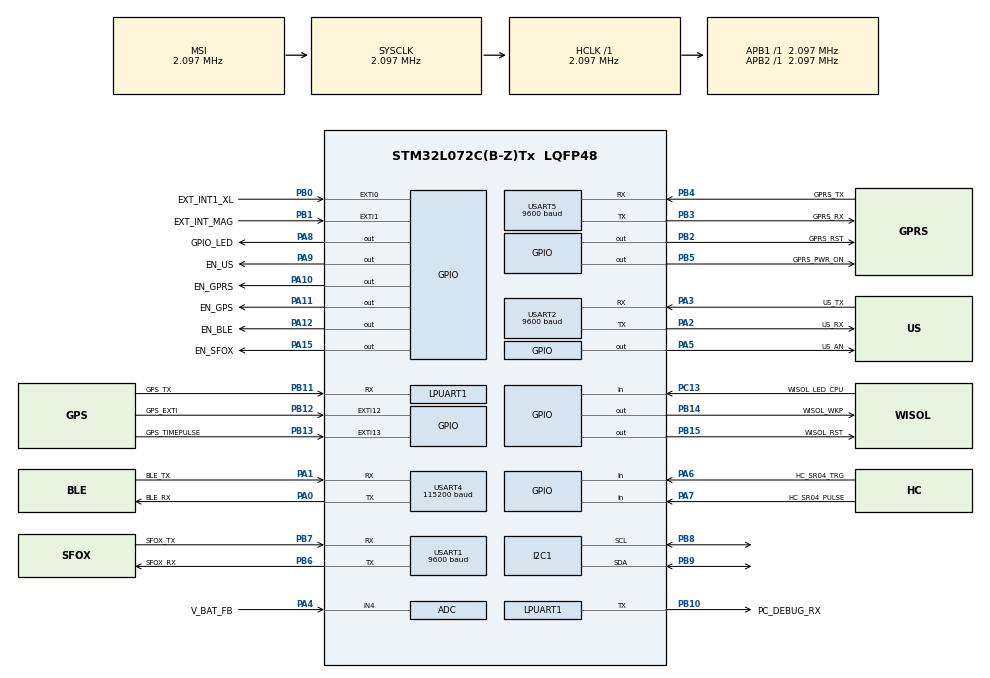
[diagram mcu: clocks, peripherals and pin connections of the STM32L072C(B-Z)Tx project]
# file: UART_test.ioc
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Dma.ADC.0.Direction=DMA_PERIPH_TO_MEMORY
Dma.ADC.0.Instance=DMA1_Channel1
Dma.ADC.0.MemDataAlignment=DMA_MDATAALIGN_WORD
Dma.ADC.0.MemInc=DMA_MINC_ENABLE
Dma.ADC.0.Mode=DMA_CIRCULAR
Dma.ADC.0.PeriphDataAlignment=DMA_PDATAALIGN_HALFWORD
Dma.ADC.0.PeriphInc=DMA_PINC_DISABLE
Dma.ADC.0.Priority=DMA_PRIORITY_MEDIUM
Dma.Request0=ADC
Dma.Request1=USART5_RX
Dma.Request2=USART5_TX
Dma.USART5_RX.1.Direction=DMA_PERIPH_TO_MEMORY
Dma.USART5_RX.1.Instance=DMA1_Channel2
Dma.USART5_RX.1.MemDataAlignment=DMA_MDATAALIGN_BYTE
Dma.USART5_RX.1.MemInc=DMA_MINC_ENABLE
Dma.USART5_RX.1.Mode=DMA_NORMAL
Dma.USART5_RX.1.PeriphDataAlignment=DMA_PDATAALIGN_BYTE
Dma.USART5_RX.1.PeriphInc=DMA_PINC_DISABLE
Dma.USART5_RX.1.Priority=DMA_PRIORITY_VERY_HIGH
Dma.USART5_TX.2.Direction=DMA_MEMORY_TO_PERIPH
Dma.USART5_TX.2.Instance=DMA1_Channel3
Dma.USART5_TX.2.MemDataAlignment=DMA_MDATAALIGN_BYTE
Dma.USART5_TX.2.MemInc=DMA_MINC_ENABLE
Dma.USART5_TX.2.Mode=DMA_NORMAL
Dma.USART5_TX.2.PeriphDataAlignment=DMA_PDATAALIGN_BYTE
Dma.USART5_TX.2.PeriphInc=DMA_PINC_DISABLE
Dma.USART5_TX.2.Priority=DMA_PRIORITY_VERY_HIGH
LPUART1.BaudRate=9600
LPUART1.WordLength=UART_WORDLENGTH_8B
Mcu.Family=STM32L0
Mcu.Name=STM32L072C(B-Z)Tx
Mcu.Package=LQFP48
NVIC.ADC1_COMP_IRQn=true\:0\:0\:false\:false\:true\:true\:true
NVIC.DMA1_Channel1_IRQn=true\:0\:0\:false\:false\:true\:false\:true
NVIC.DMA1_Channel2_3_IRQn=true\:0\:0\:false\:false\:true\:false\:true
NVIC.EXTI0_1_IRQn=true\:0\:0\:false\:false\:true\:true\:true
NVIC.EXTI4_15_IRQn=true\:0\:0\:false\:false\:true\:true\:true
NVIC.RCC_CRS_IRQn=true\:0\:0\:false\:false\:true\:true\:false
NVIC.RNG_LPUART1_IRQn=true\:0\:0\:false\:false\:true\:true\:true
NVIC.RTC_IRQn=true\:0\:0\:false\:false\:true\:true\:true
NVIC.USART1_IRQn=true\:0\:0\:false\:false\:true\:true\:true
NVIC.USART2_IRQn=true\:0\:0\:false\:false\:true\:true\:true
NVIC.USART4_5_IRQn=true\:0\:0\:false\:false\:true\:true\:true
PA0.GPIO_Label=BLE_RX
PA0.Mode=Asynchronous
PA0.Signal=USART4_TX
PA1.GPIO_Label=BLE_TX
PA1.Mode=Asynchronous
PA1.Signal=USART4_RX
PA10.GPIO_Label=EN_GPRS
PA10.Signal=GPIO_Output
PA11.GPIO_Label=EN_GPS
PA11.Signal=GPIO_Output
PA12.GPIO_Label=EN_BLE
PA12.Signal=GPIO_Output
PA13.Mode=Serial_Wire
PA13.Signal=SYS_SWDIO
PA14.Mode=Serial_Wire
PA14.Signal=SYS_SWCLK
PA15.GPIO_Label=EN_SFOX
PA15.Signal=GPIO_Output
PA2.GPIO_Label=US_RX
PA2.Mode=Asynchronous
PA2.Signal=USART2_TX
PA3.GPIO_Label=US_TX
PA3.Mode=Asynchronous
PA3.Signal=USART2_RX
PA4.GPIO_Label=V_BAT_FB
PA4.Mode=IN4
PA4.Signal=ADC_IN4
PA5.GPIO_Label=US_AN
PA5.GPIO_PuPd=GPIO_NOPULL
PA5.GPIO_Speed=GPIO_SPEED_FREQ_VERY_HIGH
PA5.PinState=GPIO_PIN_SET
PA5.Signal=GPIO_Output
PA6.GPIO_Label=HC_SR04_TRG
PA6.Signal=GPIO_Input
PA7.GPIO_Label=HC_SR04_PULSE
PA7.Signal=GPIO_Input
PA8.GPIO_Label=GPIO_LED
PA8.GPIO_PuPd=GPIO_PULLDOWN
PA8.GPIO_Speed=GPIO_SPEED_FREQ_HIGH
PA8.Signal=GPIO_Output
PA9.GPIO_Label=EN_US
PA9.Signal=GPIO_Output
PB0.GPIO_Label=EXT_INT1_XL
PB0.Signal=GPXTI0
PB1.GPIO_Label=EXT_INT_MAG
PB1.Signal=GPXTI1
PB10.GPIO_Label=PC_DEBUG_RX
PB10.Mode=Asynchronous
PB10.Signal=LPUART1_TX
PB11.GPIO_Label=GPS_TX
PB11.Mode=Asynchronous
PB11.Signal=LPUART1_RX
PB12.GPIO_Label=GPS_EXTI
PB12.Signal=GPXTI12
PB13.GPIO_Label=GPS_TIMEPULSE
PB13.Signal=GPXTI13
PB14.GPIO_Label=WISOL_WKP
PB14.PinState=GPIO_PIN_SET
PB14.Signal=GPIO_Output
PB15.GPIO_Label=WISOL_RST
PB15.PinState=GPIO_PIN_SET
PB15.Signal=GPIO_Output
PB2.GPIO_Label=GPRS_RST
PB2.GPIO_ModeDefaultOutputPP=GPIO_MODE_OUTPUT_OD
PB2.GPIO_PuPd=GPIO_PULLUP
PB2.PinState=GPIO_PIN_SET
PB2.Signal=GPIO_Output
PB3.GPIO_Label=GPRS_RX
PB3.Mode=Asynchronous
PB3.Signal=USART5_TX
PB4.GPIO_Label=GPRS_TX
PB4.Mode=Asynchronous
PB4.Signal=USART5_RX
PB5.GPIO_Label=GPRS_PWR_ON
PB5.Signal=GPIO_Output
PB6.GPIO_Label=SFOX_RX
PB6.Mode=Asynchronous
PB6.Signal=USART1_TX
PB7.GPIO_Label=SFOX_TX
PB7.Mode=Asynchronous
PB7.Signal=USART1_RX
PB8.Mode=I2C
PB8.Signal=I2C1_SCL
PB9.Mode=I2C
PB9.Signal=I2C1_SDA
PC13.GPIO_Label=WISOL_LED_CPU
PC13.Signal=GPIO_Input
ProjectManager.HeapSize=0x200
ProjectManager.StackSize=0x400
ProjectManager.TargetToolchain=TrueSTUDIO
RCC.ADCFreq_Value=4000000
RCC.AHBFreq_Value=2097000
RCC.APB1Freq_Value=2097000
RCC.APB1TimFreq_Value=2097000
RCC.APB2Freq_Value=2097000
RCC.APB2TimFreq_Value=2097000
RCC.HCLKFreq_Value=2097000
RCC.HSE_Timout=1000
RCC.HSE_VALUE=8000000
RCC.HSI16_VALUE=16000000
RCC.HSI48_VALUE=48000000
RCC.HSIRCDiv=4
RCC.HSI_VALUE=4000000
RCC.INSTRUCTION_CACHE_ENABLE=0
RCC.LSE_VALUE=32768
RCC.MSI_VALUE=2097000
RCC.PLLDIV=RCC_PLLDIV_4
RCC.PLLMUL=RCC_PLLMUL_4
RCC.PREFETCH_ENABLE=1
RCC.SYSCLKFreq_VALUE=2097000
RCC.VCOOutputFreq_Value=16000000
RTC.WakeUpClock-WakeUp=RTC_WAKEUPCLOCK_CK_SPRE_16BITS
RTC.WakeUpCounter-WakeUp=1
USART1.BaudRate=9600
USART1.VirtualMode-Asynchronous=VM_ASYNC
USART2.BaudRate=9600
USART2.VirtualMode-Asynchronous=VM_ASYNC
USART4.BaudRate=115200
USART4.VirtualMode-Asynchronous=VM_ASYNC
USART5.BaudRate=9600
USART5.VirtualMode-Asynchronous=VM_ASYNC
VP_ADC_TempSens_Input.Mode=IN-TempSens
VP_RTC_VS_RTC_Activate.Mode=RTC_Enabled
VP_RTC_VS_RTC_WakeUp_intern.Mode=WakeUp
board=custom

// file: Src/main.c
/* USER CODE BEGIN Header */
/**
 ******************************************************************************
 * @file           : main.c
 * @brief          : Main program body
 ******************************************************************************
 * @attention
 *
 * <h2><center>&copy; Copyright (c) 2020 STMicroelectronics.
 * All rights reserved.</center></h2>
 *
 * This software component is licensed by ST under BSD 3-Clause license,
 * the "License"; You may not use this file except in compliance with the
 * License. You may obtain a copy of the License at:
 *                        opensource.org/licenses/BSD-3-Clause
 *
 ******************************************************************************
 */
/* USER CODE END Header */

#include "main.h"

/* USER CODE BEGIN Includes */
#include <math.h>
#include <string.h>
#include <stdio.h>
#include <stdlib.h>
#include <stdbool.h>
/* USER CODE END Includes */

ADC_HandleTypeDef hadc;
DMA_HandleTypeDef hdma_adc;

I2C_HandleTypeDef hi2c1;

UART_HandleTypeDef hlpuart1;
UART_HandleTypeDef huart1;
UART_HandleTypeDef huart2;
UART_HandleTypeDef huart4;
UART_HandleTypeDef huart5;
DMA_HandleTypeDef hdma_usart5_rx;
DMA_HandleTypeDef hdma_usart5_tx;

RTC_HandleTypeDef hrtc;

/* USER CODE BEGIN PV */
__IO ITStatus UartReady = RESET;

/* USER CODE END PV */

void SystemClock_Config(void);
static void MX_GPIO_Init(void);
static void MX_DMA_Init(void);
static void MX_ADC_Init(void);
static void MX_I2C1_Init(void);
static void MX_LPUART1_UART_Init(void);
static void MX_USART1_UART_Init(void);
static void MX_USART2_UART_Init(void);
static void MX_USART4_UART_Init(void);
static void MX_USART5_UART_Init(void);
static void MX_RTC_Init(void);
/* USER CODE BEGIN PFP */

void fn_call();
void fn_call2();

uint8_t byte, gsmbyte;

char receiver[100] = { 0 };

int mSecUART = 0;
//uint8_t byteGSM[BYTE_GSM_SIZE];
uint32_t HTbytesToReceive = 0, GSMbytesToReceive = 0, bytesToReceive = 0; // = sizeof(byteGSM);

/* USER CODE END PFP */

int main(void) {

	/* MCU Configuration--------------------------------------------------------*/

	/* Reset of all peripherals, Initializes the Flash interface and the Systick. */
	HAL_Init();

	/* Configure the system clock */
	SystemClock_Config();

	/* Initialize all configured peripherals */
	MX_GPIO_Init();
	MX_DMA_Init();
	MX_ADC_Init();
	MX_I2C1_Init();
	MX_LPUART1_UART_Init();
	MX_USART1_UART_Init();
	MX_USART2_UART_Init();
	MX_USART4_UART_Init();
	MX_USART5_UART_Init();
	MX_RTC_Init();
	/* USER CODE BEGIN 2 */
	HAL_UART_Transmit(&hlpuart1, (uint8_t*) "\r\nENABLE\r\n", 10, 10);
	HAL_GPIO_WritePin(EN_GPRS_GPIO_Port, EN_GPRS_Pin, 1);
	HAL_Delay(1000);
	HAL_UART_Transmit(&hlpuart1, (uint8_t*) "\r\nRESET\r\n", 9, 10);
	HAL_GPIO_WritePin(GPRS_RST_GPIO_Port, GPRS_RST_Pin, 1);
	HAL_Delay(3000);
	HAL_UART_Transmit(&hlpuart1, (uint8_t*) "\r\nPOWER\r\n", 9, 10);
	HAL_GPIO_WritePin(GPRS_PWR_ON_GPIO_Port, GPRS_PWR_ON_Pin, 1);
	HAL_Delay(10000);
	HAL_UART_Transmit(&hlpuart1, (uint8_t*) "\r\nSTART\r\n", 9, 10);
	//HAL_UART_Receive_IT(&hlpuart1, &byte, 1);
	/* USER CODE END 2 */

	/* Infinite loop */
	while (1) {
		if (HAL_UART_Receive_IT(&hlpuart1, &byte, 1) != HAL_OK) {
		}
		while (UartReady != SET) {

		}
		/* Reset transmission flag */
		UartReady = RESET;
		fn_call();

		memset(receiver, 0, 100);
		HTbytesToReceive = 0;
	}
}

void SystemClock_Config(void) {
	RCC_OscInitTypeDef RCC_OscInitStruct = { 0 };
	RCC_ClkInitTypeDef RCC_ClkInitStruct = { 0 };
	RCC_PeriphCLKInitTypeDef PeriphClkInit = { 0 };

	/** Configure the main internal regulator output voltage
	 */
	__HAL_PWR_VOLTAGESCALING_CONFIG(PWR_REGULATOR_VOLTAGE_SCALE1);
	/** Initializes the CPU, AHB and APB busses clocks
	 */
	RCC_OscInitStruct.OscillatorType = RCC_OSCILLATORTYPE_LSI
			| RCC_OSCILLATORTYPE_MSI;
	RCC_OscInitStruct.LSIState = RCC_LSI_ON;
	RCC_OscInitStruct.MSIState = RCC_MSI_ON;
	RCC_OscInitStruct.MSICalibrationValue = 0;
	RCC_OscInitStruct.MSIClockRange = RCC_MSIRANGE_5;
	RCC_OscInitStruct.PLL.PLLState = RCC_PLL_NONE;
	if (HAL_RCC_OscConfig(&RCC_OscInitStruct) != HAL_OK) {
		Error_Handler();
	}
	/** Initializes the CPU, AHB and APB busses clocks
	 */
	RCC_ClkInitStruct.ClockType = RCC_CLOCKTYPE_HCLK | RCC_CLOCKTYPE_SYSCLK
			| RCC_CLOCKTYPE_PCLK1 | RCC_CLOCKTYPE_PCLK2;
	RCC_ClkInitStruct.SYSCLKSource = RCC_SYSCLKSOURCE_MSI;
	RCC_ClkInitStruct.AHBCLKDivider = RCC_SYSCLK_DIV1;
	RCC_ClkInitStruct.APB1CLKDivider = RCC_HCLK_DIV1;
	RCC_ClkInitStruct.APB2CLKDivider = RCC_HCLK_DIV1;

	if (HAL_RCC_ClockConfig(&RCC_ClkInitStruct, FLASH_LATENCY_0) != HAL_OK) {
		Error_Handler();
	}
	PeriphClkInit.PeriphClockSelection = RCC_PERIPHCLK_USART1
			| RCC_PERIPHCLK_USART2 | RCC_PERIPHCLK_LPUART1 | RCC_PERIPHCLK_I2C1
			| RCC_PERIPHCLK_RTC;
	PeriphClkInit.Usart1ClockSelection = RCC_USART1CLKSOURCE_PCLK2;
	PeriphClkInit.Usart2ClockSelection = RCC_USART2CLKSOURCE_PCLK1;
	PeriphClkInit.Lpuart1ClockSelection = RCC_LPUART1CLKSOURCE_PCLK1;
	PeriphClkInit.I2c1ClockSelection = RCC_I2C1CLKSOURCE_PCLK1;
	PeriphClkInit.RTCClockSelection = RCC_RTCCLKSOURCE_LSI;
	if (HAL_RCCEx_PeriphCLKConfig(&PeriphClkInit) != HAL_OK) {
		Error_Handler();
	}
}

static void MX_ADC_Init(void) {

	ADC_ChannelConfTypeDef sConfig = { 0 };

	/** Configure the global features of the ADC (Clock, Resolution, Data Alignment and number of conversion)
	 */
	hadc.Instance = ADC1;
	hadc.Init.OversamplingMode = DISABLE;
	hadc.Init.ClockPrescaler = ADC_CLOCK_SYNC_PCLK_DIV1;
	hadc.Init.Resolution = ADC_RESOLUTION_12B;
	hadc.Init.SamplingTime = ADC_SAMPLETIME_1CYCLE_5;
	hadc.Init.ScanConvMode = ADC_SCAN_DIRECTION_FORWARD;
	hadc.Init.DataAlign = ADC_DATAALIGN_RIGHT;
	hadc.Init.ContinuousConvMode = DISABLE;
	hadc.Init.DiscontinuousConvMode = DISABLE;
	hadc.Init.ExternalTrigConvEdge = ADC_EXTERNALTRIGCONVEDGE_NONE;
	hadc.Init.ExternalTrigConv = ADC_SOFTWARE_START;
	hadc.Init.DMAContinuousRequests = DISABLE;
	hadc.Init.EOCSelection = ADC_EOC_SINGLE_CONV;
	hadc.Init.Overrun = ADC_OVR_DATA_PRESERVED;
	hadc.Init.LowPowerAutoWait = DISABLE;
	hadc.Init.LowPowerFrequencyMode = DISABLE;
	hadc.Init.LowPowerAutoPowerOff = DISABLE;
	if (HAL_ADC_Init(&hadc) != HAL_OK) {
		Error_Handler();
	}
	/** Configure for the selected ADC regular channel to be converted.
	 */
	sConfig.Channel = ADC_CHANNEL_4;
	sConfig.Rank = ADC_RANK_CHANNEL_NUMBER;
	if (HAL_ADC_ConfigChannel(&hadc, &sConfig) != HAL_OK) {
		Error_Handler();
	}
	/** Configure for the selected ADC regular channel to be converted.
	 */
	sConfig.Channel = ADC_CHANNEL_TEMPSENSOR;
	if (HAL_ADC_ConfigChannel(&hadc, &sConfig) != HAL_OK) {
		Error_Handler();
	}

}

static void MX_I2C1_Init(void) {

	hi2c1.Instance = I2C1;
	hi2c1.Init.Timing = 0x00000708;
	hi2c1.Init.OwnAddress1 = 0;
	hi2c1.Init.AddressingMode = I2C_ADDRESSINGMODE_7BIT;
	hi2c1.Init.DualAddressMode = I2C_DUALADDRESS_DISABLE;
	hi2c1.Init.OwnAddress2 = 0;
	hi2c1.Init.OwnAddress2Masks = I2C_OA2_NOMASK;
	hi2c1.Init.GeneralCallMode = I2C_GENERALCALL_DISABLE;
	hi2c1.Init.NoStretchMode = I2C_NOSTRETCH_DISABLE;
	if (HAL_I2C_Init(&hi2c1) != HAL_OK) {
		Error_Handler();
	}
	/** Configure Analogue filter
	 */
	if (HAL_I2CEx_ConfigAnalogFilter(&hi2c1, I2C_ANALOGFILTER_ENABLE)
			!= HAL_OK) {
		Error_Handler();
	}
	/** Configure Digital filter
	 */
	if (HAL_I2CEx_ConfigDigitalFilter(&hi2c1, 0) != HAL_OK) {
		Error_Handler();
	}

}

static void MX_LPUART1_UART_Init(void) {

	hlpuart1.Instance = LPUART1;
	hlpuart1.Init.BaudRate = 9600;
	hlpuart1.Init.WordLength = UART_WORDLENGTH_8B;
	hlpuart1.Init.StopBits = UART_STOPBITS_1;
	hlpuart1.Init.Parity = UART_PARITY_NONE;
	hlpuart1.Init.Mode = UART_MODE_TX_RX;
	hlpuart1.Init.HwFlowCtl = UART_HWCONTROL_NONE;
	hlpuart1.Init.OneBitSampling = UART_ONE_BIT_SAMPLE_DISABLE;
	hlpuart1.AdvancedInit.AdvFeatureInit = UART_ADVFEATURE_NO_INIT;
	if (HAL_UART_Init(&hlpuart1) != HAL_OK) {
		Error_Handler();
	}

}

static void MX_USART1_UART_Init(void) {

	huart1.Instance = USART1;
	huart1.Init.BaudRate = 9600;
	huart1.Init.WordLength = UART_WORDLENGTH_8B;
	huart1.Init.StopBits = UART_STOPBITS_1;
	huart1.Init.Parity = UART_PARITY_NONE;
	huart1.Init.Mode = UART_MODE_TX_RX;
	huart1.Init.HwFlowCtl = UART_HWCONTROL_NONE;
	huart1.Init.OverSampling = UART_OVERSAMPLING_16;
	huart1.Init.OneBitSampling = UART_ONE_BIT_SAMPLE_DISABLE;
	huart1.AdvancedInit.AdvFeatureInit = UART_ADVFEATURE_NO_INIT;
	if (HAL_UART_Init(&huart1) != HAL_OK) {
		Error_Handler();
	}

}

static void MX_USART2_UART_Init(void) {

	huart2.Instance = USART2;
	huart2.Init.BaudRate = 9600;
	huart2.Init.WordLength = UART_WORDLENGTH_8B;
	huart2.Init.StopBits = UART_STOPBITS_1;
	huart2.Init.Parity = UART_PARITY_NONE;
	huart2.Init.Mode = UART_MODE_TX_RX;
	huart2.Init.HwFlowCtl = UART_HWCONTROL_NONE;
	huart2.Init.OverSampling = UART_OVERSAMPLING_16;
	huart2.Init.OneBitSampling = UART_ONE_BIT_SAMPLE_DISABLE;
	huart2.AdvancedInit.AdvFeatureInit = UART_ADVFEATURE_NO_INIT;
	if (HAL_UART_Init(&huart2) != HAL_OK) {
		Error_Handler();
	}

}

static void MX_USART4_UART_Init(void) {

	huart4.Instance = USART4;
	huart4.Init.BaudRate = 115200;
	huart4.Init.WordLength = UART_WORDLENGTH_8B;
	huart4.Init.StopBits = UART_STOPBITS_1;
	huart4.Init.Parity = UART_PARITY_NONE;
	huart4.Init.Mode = UART_MODE_TX_RX;
	huart4.Init.HwFlowCtl = UART_HWCONTROL_NONE;
	huart4.Init.OverSampling = UART_OVERSAMPLING_16;
	huart4.Init.OneBitSampling = UART_ONE_BIT_SAMPLE_DISABLE;
	huart4.AdvancedInit.AdvFeatureInit = UART_ADVFEATURE_NO_INIT;
	if (HAL_UART_Init(&huart4) != HAL_OK) {
		Error_Handler();
	}

}

static void MX_USART5_UART_Init(void) {

	huart5.Instance = USART5;
	huart5.Init.BaudRate = 9600;
	huart5.Init.WordLength = UART_WORDLENGTH_8B;
	huart5.Init.StopBits = UART_STOPBITS_1;
	huart5.Init.Parity = UART_PARITY_NONE;
	huart5.Init.Mode = UART_MODE_TX_RX;
	huart5.Init.HwFlowCtl = UART_HWCONTROL_NONE;
	huart5.Init.OverSampling = UART_OVERSAMPLING_16;
	huart5.Init.OneBitSampling = UART_ONE_BIT_SAMPLE_DISABLE;
	huart5.AdvancedInit.AdvFeatureInit = UART_ADVFEATURE_NO_INIT;
	if (HAL_UART_Init(&huart5) != HAL_OK) {
		Error_Handler();
	}

}

static void MX_RTC_Init(void) {

	/** Initialize RTC Only
	 */
	hrtc.Instance = RTC;
	hrtc.Init.HourFormat = RTC_HOURFORMAT_24;
	hrtc.Init.AsynchPrediv = 127;
	hrtc.Init.SynchPrediv = 255;
	hrtc.Init.OutPut = RTC_OUTPUT_DISABLE;
	hrtc.Init.OutPutRemap = RTC_OUTPUT_REMAP_NONE;
	hrtc.Init.OutPutPolarity = RTC_OUTPUT_POLARITY_HIGH;
	hrtc.Init.OutPutType = RTC_OUTPUT_TYPE_OPENDRAIN;
	if (HAL_RTC_Init(&hrtc) != HAL_OK) {
		Error_Handler();
	}
	/** Enable the WakeUp
	 */
	if (HAL_RTCEx_SetWakeUpTimer_IT(&hrtc, 1, RTC_WAKEUPCLOCK_CK_SPRE_16BITS)
			!= HAL_OK) {
		Error_Handler();
	}

}

static void MX_DMA_Init(void) {

	/* DMA controller clock enable */
	__HAL_RCC_DMA1_CLK_ENABLE()
	;

	/* DMA interrupt init */
	/* DMA1_Channel1_IRQn interrupt configuration */
	HAL_NVIC_SetPriority(DMA1_Channel1_IRQn, 0, 0);
	HAL_NVIC_EnableIRQ(DMA1_Channel1_IRQn);
	/* DMA1_Channel2_3_IRQn interrupt configuration */
	HAL_NVIC_SetPriority(DMA1_Channel2_3_IRQn, 0, 0);
	HAL_NVIC_EnableIRQ(DMA1_Channel2_3_IRQn);

}

static void MX_GPIO_Init(void) {
	GPIO_InitTypeDef GPIO_InitStruct = { 0 };

	/* GPIO Ports Clock Enable */
	__HAL_RCC_GPIOC_CLK_ENABLE()
	;
	__HAL_RCC_GPIOH_CLK_ENABLE()
	;
	__HAL_RCC_GPIOA_CLK_ENABLE()
	;
	__HAL_RCC_GPIOB_CLK_ENABLE()
	;

	/*Configure GPIO pin Output Level */
	HAL_GPIO_WritePin(US_AN_GPIO_Port, US_AN_Pin, GPIO_PIN_SET);

	/*Configure GPIO pin Output Level */
	HAL_GPIO_WritePin(GPIOB, GPRS_RST_Pin | WISOL_WKP_Pin | WISOL_RST_Pin,
			GPIO_PIN_SET);

	/*Configure GPIO pin Output Level */
	HAL_GPIO_WritePin(GPIOA,
			GPIO_LED_Pin | EN_US_Pin | EN_GPRS_Pin | EN_GPS_Pin | EN_BLE_Pin
					| EN_SFOX_Pin, GPIO_PIN_RESET);

	/*Configure GPIO pin Output Level */
	HAL_GPIO_WritePin(GPRS_PWR_ON_GPIO_Port, GPRS_PWR_ON_Pin, GPIO_PIN_RESET);

	/*Configure GPIO pin : WISOL_LED_CPU_Pin */
	GPIO_InitStruct.Pin = WISOL_LED_CPU_Pin;
	GPIO_InitStruct.Mode = GPIO_MODE_INPUT;
	GPIO_InitStruct.Pull = GPIO_NOPULL;
	HAL_GPIO_Init(WISOL_LED_CPU_GPIO_Port, &GPIO_InitStruct);

	/*Configure GPIO pins : PC14 PC15 */
	GPIO_InitStruct.Pin = GPIO_PIN_14 | GPIO_PIN_15;
	GPIO_InitStruct.Mode = GPIO_MODE_ANALOG;
	GPIO_InitStruct.Pull = GPIO_NOPULL;
	HAL_GPIO_Init(GPIOC, &GPIO_InitStruct);

	/*Configure GPIO pins : PH0 PH1 */
	GPIO_InitStruct.Pin = GPIO_PIN_0 | GPIO_PIN_1;
	GPIO_InitStruct.Mode = GPIO_MODE_ANALOG;
	GPIO_InitStruct.Pull = GPIO_NOPULL;
	HAL_GPIO_Init(GPIOH, &GPIO_InitStruct);

	/*Configure GPIO pin : US_AN_Pin */
	GPIO_InitStruct.Pin = US_AN_Pin;
	GPIO_InitStruct.Mode = GPIO_MODE_OUTPUT_PP;
	GPIO_InitStruct.Pull = GPIO_NOPULL;
	GPIO_InitStruct.Speed = GPIO_SPEED_FREQ_VERY_HIGH;
	HAL_GPIO_Init(US_AN_GPIO_Port, &GPIO_InitStruct);

	/*Configure GPIO pins : HC_SR04_TRG_Pin HC_SR04_PULSE_Pin */
	GPIO_InitStruct.Pin = HC_SR04_TRG_Pin | HC_SR04_PULSE_Pin;
	GPIO_InitStruct.Mode = GPIO_MODE_INPUT;
	GPIO_InitStruct.Pull = GPIO_NOPULL;
	HAL_GPIO_Init(GPIOA, &GPIO_InitStruct);

	/*Configure GPIO pins : EXT_INT1_XL_Pin EXT_INT_MAG_Pin GPS_EXTI_Pin GPS_TIMEPULSE_Pin */
	GPIO_InitStruct.Pin = EXT_INT1_XL_Pin | EXT_INT_MAG_Pin | GPS_EXTI_Pin
			| GPS_TIMEPULSE_Pin;
	GPIO_InitStruct.Mode = GPIO_MODE_IT_RISING;
	GPIO_InitStruct.Pull = GPIO_NOPULL;
	HAL_GPIO_Init(GPIOB, &GPIO_InitStruct);

	/*Configure GPIO pin : GPRS_RST_Pin */
	GPIO_InitStruct.Pin = GPRS_RST_Pin;
	GPIO_InitStruct.Mode = GPIO_MODE_OUTPUT_OD;
	GPIO_InitStruct.Pull = GPIO_PULLUP;
	GPIO_InitStruct.Speed = GPIO_SPEED_FREQ_LOW;
	HAL_GPIO_Init(GPRS_RST_GPIO_Port, &GPIO_InitStruct);

	/*Configure GPIO pins : WISOL_WKP_Pin WISOL_RST_Pin GPRS_PWR_ON_Pin */
	GPIO_InitStruct.Pin = WISOL_WKP_Pin | WISOL_RST_Pin | GPRS_PWR_ON_Pin;
	GPIO_InitStruct.Mode = GPIO_MODE_OUTPUT_PP;
	GPIO_InitStruct.Pull = GPIO_NOPULL;
	GPIO_InitStruct.Speed = GPIO_SPEED_FREQ_LOW;
	HAL_GPIO_Init(GPIOB, &GPIO_InitStruct);

	/*Configure GPIO pin : GPIO_LED_Pin */
	GPIO_InitStruct.Pin = GPIO_LED_Pin;
	GPIO_InitStruct.Mode = GPIO_MODE_OUTPUT_PP;
	GPIO_InitStruct.Pull = GPIO_PULLDOWN;
	GPIO_InitStruct.Speed = GPIO_SPEED_FREQ_HIGH;
	HAL_GPIO_Init(GPIO_LED_GPIO_Port, &GPIO_InitStruct);

	/*Configure GPIO pins : EN_US_Pin EN_GPRS_Pin EN_GPS_Pin EN_BLE_Pin
	 EN_SFOX_Pin */
	GPIO_InitStruct.Pin = EN_US_Pin | EN_GPRS_Pin | EN_GPS_Pin | EN_BLE_Pin
			| EN_SFOX_Pin;
	GPIO_InitStruct.Mode = GPIO_MODE_OUTPUT_PP;
	GPIO_InitStruct.Pull = GPIO_NOPULL;
	GPIO_InitStruct.Speed = GPIO_SPEED_FREQ_LOW;
	HAL_GPIO_Init(GPIOA, &GPIO_InitStruct);

	/* EXTI interrupt init*/
	HAL_NVIC_SetPriority(EXTI0_1_IRQn, 0, 0);
	HAL_NVIC_EnableIRQ(EXTI0_1_IRQn);

	HAL_NVIC_SetPriority(EXTI4_15_IRQn, 0, 0);
	HAL_NVIC_EnableIRQ(EXTI4_15_IRQn);

}

/* USER CODE BEGIN 4 */
void HAL_UART_TxCpltCallback(UART_HandleTypeDef *huart) {
	//UartReady = SET;

	if (huart->Instance == LPUART1) {
		UartReady = SET;
//HAL_UART_Transmit_IT(&hlpuart1, &gsmbyte , 1);
	}

	if (huart->Instance == USART5) {
		UartReady = SET;
//HAL_UART_Receive_DMA(&huart5, &gsmbyte, 1);
	}

}

/**
 * @brief  Rx Transfer completed callback
 * @param  huart: UART handle
 * @note   This example shows a simple way to report end of DMA Rx transfer, and
 *         you can add your own implementation.
 * @retval None
 */
void HAL_UART_RxCpltCallback(UART_HandleTypeDef *huart) {

	//recebe valores da uart para o device byte a byte
	if (huart->Instance == LPUART1) {
//UartReady = SET;
		HAL_UART_Receive_IT(&hlpuart1, &byte, 1);
		if (byte != 0) {
			receiver[HTbytesToReceive] = byte;
			++HTbytesToReceive;
			if (byte == 13) {
				UartReady = SET;
			}
		}
	}
	if (huart->Instance == USART5) {
//UartReady = SET;
	}

}

void fn_call() {
	char new[HTbytesToReceive];
	uint8_t GSMreceiver[BYTES_TO_RECEIVER] = {0};

	/*	for (int var = 0; var <= HTbytesToReceive; var++) {
	 new[var] = receiver[var];
	 }*/
	strcpy(new, receiver);
	HAL_UART_Transmit_DMA(&huart5, (uint8_t*) &new, HTbytesToReceive);
	while (UartReady != SET) {
	}
	UartReady = RESET;
//HAL_UART_Transmit_IT(&hlpuart1, (uint8_t*) &new, HTbytesToReceive);

	HAL_Delay(200);

	HAL_UART_Receive_DMA(&huart5, (uint8_t*) &GSMreceiver,
	BYTES_TO_RECEIVER);

	huart5.pRxBuffPtr = (uint8_t*) &GSMreceiver;
	huart5.RxXferCount = 0;

	HAL_Delay(200);

	for (uint16_t kyt = 0; kyt < BYTES_TO_RECEIVER; kyt++) {
		if (GSMreceiver[kyt] != 0 && GSMreceiver[kyt] < 128) {
			gsmbyte = GSMreceiver[kyt];
			HAL_UART_Transmit_IT(&hlpuart1, &gsmbyte, 1);
			while (UartReady != SET) {
			}
			UartReady = RESET;
		}
	}

}

/* USER CODE END 4 */

void Error_Handler(void) {
}

/************************ (C) COPYRIGHT STMicroelectronics *****END OF FILE****/
